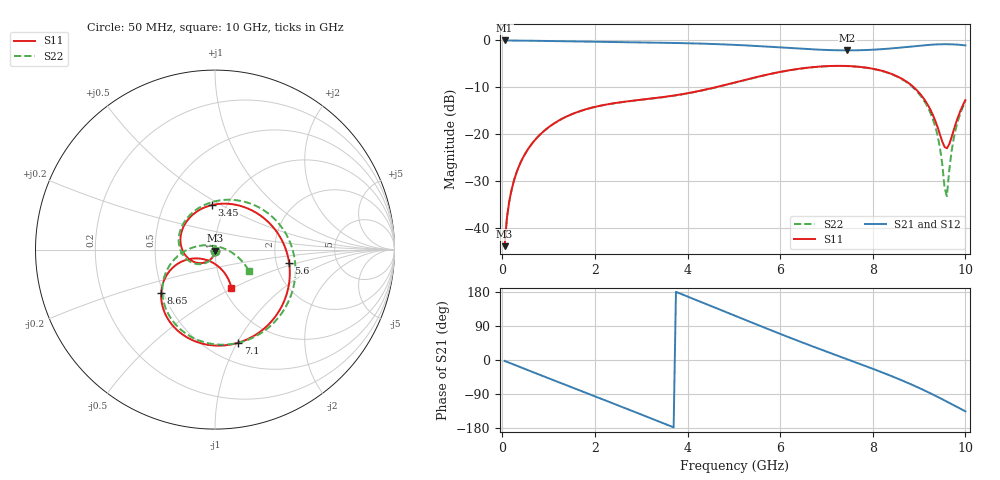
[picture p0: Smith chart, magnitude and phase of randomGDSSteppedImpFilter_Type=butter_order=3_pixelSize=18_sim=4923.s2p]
! freq	dB(S11)	phase(S11)	dB(S12)	phase(S12)
!  dB(S21)	phase(S21)	dB(S22)	phase(S22)
!S-par simulation data
#  GHz  S  DB  R 50
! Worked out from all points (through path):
!   200 points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, 50 MHz to 10 GHz, reference 50 ohm
!   highest |S21| = -0.01 dB at 50 MHz (marker M1); lowest = -2.1 dB at 7.45 GHz (marker M2)
!   group delay of S21, straight-line fit = 135 ps
!   lowest |S11| = -43.8 dB at 50 MHz (marker M3), VSWR 1.01, Z = 50 - j0.647 ohm
!   |S11| at or under -10 dB: start of sweep to 4.591 GHz; 8.888 GHz to end of sweep
!   |S22| runs from -43.8 to -5.4 dB; largest |S21 - S12| = 0
!   S11 on the Smith chart (normalised r, x): 50 MHz: 1.00, -0.01; 3.45 GHz: 0.86, +0.45; 5.6 GHz: 2.35, -0.43; 7.1 GHz: 0.69, -1.01; 8.65 GHz: 0.49, -0.28; 10 GHz: 1.09, -0.49
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0.05  -43.79 -90.2  -0.01 -2.5  -0.01 -2.5  -43.79 -90.1
0.1  -37.77 -93.7  -0.01 -4.9  -0.01 -4.9  -37.77 -93.5
0.2  -31.80 -99.7  -0.02 -9.7  -0.02 -9.7  -31.80 -98.9
0.5  -24.02 -115.6  -0.05 -24.2  -0.05 -24.2  -24.01 -113.6
1.15  -17.46 -148.7  -0.15 -55.4  -0.15 -55.4  -17.46 -143.8
1.75  -14.82 -179.0  -0.24 -84.0  -0.24 -84.0  -14.82 -171.0
2.5  -13.24 142.8  -0.36 -119.7  -0.36 -119.7  -13.25 155.5
3.4  -12.14 96.4  -0.49 -163.1  -0.49 -163.1  -12.17 114.8
3.45  -12.08 93.9  -0.49 -165.6  -0.49 -165.6  -12.11 112.5
4.2  -10.86 56.1  -0.65 157.7  -0.65 157.7  -10.90 76.9
5.05  -8.88 15.2  -0.96 115.5  -0.96 115.5  -8.91 34.3
5.6  -7.54 -10.3  -1.25 88.4  -1.25 88.4  -7.57 6.3
6.7  -5.69 -59.0  -1.90 36.0  -1.90 36.0  -5.70 -47.6
7.1  -5.44 -76.0  -2.06 17.7  -2.06 17.7  -5.45 -66.3
7.45  -5.44 -90.6  -2.11 1.9  -2.11 1.9  -5.46 -82.4
8.35  -6.93 -128.3  -1.75 -39.8  -1.75 -39.8  -6.99 -124.8
8.65  -8.28 -141.1  -1.47 -54.8  -1.47 -54.8  -8.39 -140.3
9.3  -15.91 -160.2  -0.89 -91.2  -0.89 -91.2  -16.82 178.4
9.45  -19.97 -150.3  -0.82 -100.4  -0.82 -100.4  -22.79 161.0
9.6  -22.96 -109.1  -0.80 -109.8  -0.80 -109.8  -33.14 55.2
9.75  -19.01 -72.7  -0.84 -119.4  -0.84 -119.4  -20.74 -8.9
10  -12.70 -66.8  -1.06 -135.5  -1.06 -135.5  -12.95 -32.5
